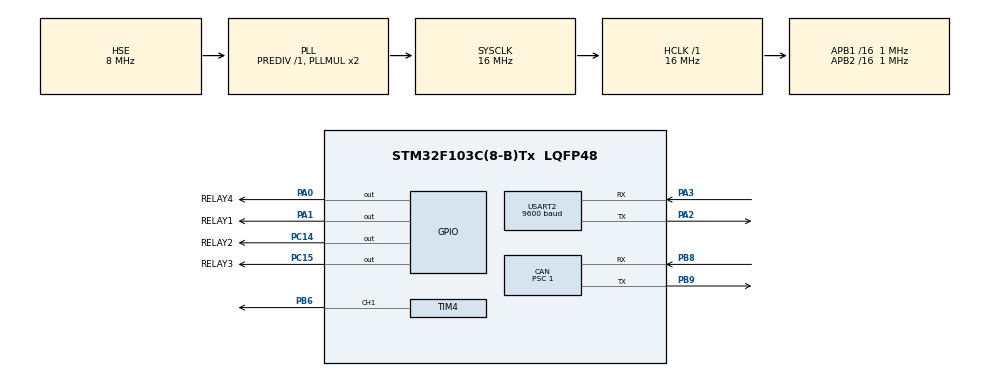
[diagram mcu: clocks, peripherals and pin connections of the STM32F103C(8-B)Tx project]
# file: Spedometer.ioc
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CAN.BS1=CAN_BS1_2TQ
CAN.CalculateBaudRate=250000
CAN.CalculateTimeBit=4000
CAN.CalculateTimeQuantum=1000.0
CAN.Prescaler=1
Mcu.Family=STM32F1
Mcu.Name=STM32F103C(8-B)Tx
Mcu.Package=LQFP48
NVIC.CAN1_RX1_IRQn=true\:0\:0\:false\:false\:true\:true\:true\:true
NVIC.PriorityGroup=NVIC_PRIORITYGROUP_4
PA0-WKUP.GPIO_Label=RELAY4
PA0-WKUP.Signal=GPIO_Output
PA1.GPIO_Label=RELAY1
PA1.Signal=GPIO_Output
PA13.Mode=Serial_Wire
PA13.Signal=SYS_JTMS-SWDIO
PA14.Mode=Serial_Wire
PA14.Signal=SYS_JTCK-SWCLK
PA2.Mode=Asynchronous
PA2.Signal=USART2_TX
PA3.Mode=Asynchronous
PA3.Signal=USART2_RX
PB6.Signal=S_TIM4_CH1
PB8.Mode=CAN_Activate
PB8.Signal=CAN_RX
PB9.Mode=CAN_Activate
PB9.Signal=CAN_TX
PC14-OSC32_IN.GPIO_Label=RELAY2
PC14-OSC32_IN.Signal=GPIO_Output
PC15-OSC32_OUT.GPIO_Label=RELAY3
PC15-OSC32_OUT.Signal=GPIO_Output
PD0-OSC_IN.Mode=HSE-External-Oscillator
PD0-OSC_IN.Signal=RCC_OSC_IN
PD1-OSC_OUT.Mode=HSE-External-Oscillator
PD1-OSC_OUT.Signal=RCC_OSC_OUT
ProjectManager.HeapSize=0x200
ProjectManager.StackSize=0x400
ProjectManager.TargetToolchain=STM32CubeIDE
RCC.AHBFreq_Value=16000000
RCC.APB1CLKDivider=RCC_HCLK_DIV16
RCC.APB1Freq_Value=1000000
RCC.APB1TimFreq_Value=2000000
RCC.APB2CLKDivider=RCC_HCLK_DIV16
RCC.APB2Freq_Value=1000000
RCC.APB2TimFreq_Value=2000000
RCC.HCLKFreq_Value=16000000
RCC.PLLSourceVirtual=RCC_PLLSOURCE_HSE
RCC.SYSCLKFreq_VALUE=16000000
RCC.SYSCLKSource=RCC_SYSCLKSOURCE_PLLCLK
RCC.USBFreq_Value=16000000
SH.S_TIM4_CH1.0=TIM4_CH1,PWM Generation1 CH1
TIM4.Channel-PWM\ Generation1\ CH1=TIM_CHANNEL_1
TIM4.Period=65535-1
TIM4.Prescaler=10-1
USART2.BaudRate=9600
USART2.VirtualMode=VM_ASYNC
VP_TIM4_VS_ClockSourceINT.Mode=Internal
board=custom

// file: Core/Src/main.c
/* USER CODE BEGIN Header */
/**
  ******************************************************************************
  * @file           : main.c
  * @brief          : Main program body
  ******************************************************************************
  * @attention
  *
  * Copyright (c) 2022 STMicroelectronics.
  * All rights reserved.
  *
  * This software is licensed under terms that can be found in the LICENSE file
  * in the root directory of this software component.
  * If no LICENSE file comes with this software, it is provided AS-IS.
  *
  ******************************************************************************
  */
/* USER CODE END Header */
#include "main.h"

/* USER CODE BEGIN Includes */
#include "uartRingBuffer.h"
#include "NMEA.h"
#include "math.h"
#include "stdio.h"
#include "stdlib.h"
#include "string.h"
/* USER CODE END Includes */

CAN_HandleTypeDef hcan;

TIM_HandleTypeDef htim4;

UART_HandleTypeDef huart2;

void SystemClock_Config(void);
static void MX_GPIO_Init(void);
static void MX_TIM4_Init(void);
static void MX_USART2_UART_Init(void);
static void MX_CAN_Init(void);

/* USER CODE BEGIN 0 */
CAN_TxHeaderTypeDef TxHeader;
CAN_RxHeaderTypeDef RxHeader;

uint8_t TxData[8];
uint8_t RxData[8];

uint32_t TxMailbox;

int datacheck = 0;

char data[255] = {'\0'};
int soc=0,voltage=0,soh=0,current=0,temperature=0;

uint8_t Cmd_End[3] = {0xff,0xff,0xff};
uint8_t value=0;
uint16_t i;
float speed = 60, kmhtofreq, freqtoarr;

/*	CAN Receive Handler	*/
void HAL_CAN_RxFifo1MsgPendingCallback(CAN_HandleTypeDef *hcan)
{
	HAL_CAN_GetRxMessage(hcan, CAN_RX_FIFO1, &RxHeader, RxData);
		datacheck = 1;
		if((RxHeader.ExtId & 0xFFFF0000) == 0x10260000){
			datacheck = 2;
			if((RxHeader.ExtId & 0x000000FF) == 0x00){
				soc=RxData[1];
				soh=RxData[2];
				temperature= RxData[3];
				voltage=RxData[4];
				current=RxData[5];
				datacheck = 3;
			}
		}
}
/* USER CODE END 0 */

int main(void)
{

  /* MCU Configuration--------------------------------------------------------*/

  /* Reset of all peripherals, Initializes the Flash interface and the Systick. */
  HAL_Init();

  /* Configure the system clock */
  SystemClock_Config();

  /* Initialize all configured peripherals */
  MX_GPIO_Init();
  MX_TIM4_Init();
  MX_USART2_UART_Init();
  MX_CAN_Init();
  /* USER CODE BEGIN 2 */
  HAL_TIM_Base_Start(&htim4);
  HAL_TIM_PWM_Start(&htim4, TIM_CHANNEL_1);
  HAL_CAN_Start(&hcan);

  // Activate CAN notification
  HAL_CAN_ActivateNotification(&hcan, CAN_IT_RX_FIFO1_MSG_PENDING);

  TxHeader.DLC = 2;  // data length
  TxHeader.IDE = CAN_ID_EXT;
  TxHeader.RTR = CAN_RTR_DATA;
  TxHeader.ExtId = 0x13;  // ID

  TxData[0] = 200;  // ms delay
  TxData[1] = 20;  // loop rep
  /* USER CODE END 2 */

  /* Infinite loop */
  while (1)
  {

    /* USER CODE BEGIN 3 */

	  /*	SPEED TO FREQUENCY CONVERSION	*/
	  // y = 7.4785x - 35.058
	  kmhtofreq = 7.4785*(speed) - 35.058;
	  // max 160kmh = 1200Hz = ARR 166
	  // min 2kmh = 10Hz = ARR 20000
      // (APB1/(TIM4PCS*kmhtofreq))
	  freqtoarr = (2000000/(10*kmhtofreq));
	  TIM4->ARR = (int)freqtoarr;
	  // CCR always 1/2 ARR
	  TIM4->CCR1 = (int)(freqtoarr/2);
	  if(TIM1->CNT > TIM1->ARR){
		  // limit CNT if exceeds ARR
		  TIM4->CNT = TIM4->ARR;
	  }

	  /*	CAN DATA CHECKING	*/
	  if (datacheck){
		  for (int i=0; i<RxData[1]; i++){
			  // blink led
			  HAL_GPIO_TogglePin(GPIOC, GPIO_PIN_13);
			  HAL_Delay(RxData[0]);
		  }
		  datacheck = 0;
	  }

	  /*	FUEL RESISTIVE SWITCH	*/
	  if(soc>=80){
		  // full
		  HAL_GPIO_WritePin(RELAY1_GPIO_Port, RELAY1_Pin, 0);
		  HAL_GPIO_WritePin(RELAY2_GPIO_Port, RELAY2_Pin, 0);
		  HAL_GPIO_WritePin(RELAY3_GPIO_Port, RELAY3_Pin, 0);
		  HAL_GPIO_WritePin(RELAY4_GPIO_Port, RELAY4_Pin, 0);
	  }
	  else if(soc>=60 && soc<80){
		  // 4/5
		  HAL_GPIO_WritePin(RELAY1_GPIO_Port, RELAY1_Pin, 1);
		  HAL_GPIO_WritePin(RELAY2_GPIO_Port, RELAY2_Pin, 0);
		  HAL_GPIO_WritePin(RELAY3_GPIO_Port, RELAY3_Pin, 0);
		  HAL_GPIO_WritePin(RELAY4_GPIO_Port, RELAY4_Pin, 0);
	  }
	  else if(soc>=40 && soc<60){
		  // 3/5
		  HAL_GPIO_WritePin(RELAY1_GPIO_Port, RELAY1_Pin, 1);
		  HAL_GPIO_WritePin(RELAY2_GPIO_Port, RELAY2_Pin, 1);
		  HAL_GPIO_WritePin(RELAY3_GPIO_Port, RELAY3_Pin, 0);
		  HAL_GPIO_WritePin(RELAY4_GPIO_Port, RELAY4_Pin, 0);
	  }
	  else if(soc>=20 && soc<40){
		  // 2/5
		  HAL_GPIO_WritePin(RELAY1_GPIO_Port, RELAY1_Pin, 1);
		  HAL_GPIO_WritePin(RELAY2_GPIO_Port, RELAY2_Pin, 1);
		  HAL_GPIO_WritePin(RELAY3_GPIO_Port, RELAY3_Pin, 1);
		  HAL_GPIO_WritePin(RELAY4_GPIO_Port, RELAY4_Pin, 0);
	  }
	  else if(soc<20){
		  // 1/5
		  HAL_GPIO_WritePin(RELAY1_GPIO_Port, RELAY1_Pin, 1);
		  HAL_GPIO_WritePin(RELAY2_GPIO_Port, RELAY2_Pin, 1);
		  HAL_GPIO_WritePin(RELAY3_GPIO_Port, RELAY3_Pin, 1);
		  HAL_GPIO_WritePin(RELAY4_GPIO_Port, RELAY4_Pin, 1);
	  }
  }
  /* USER CODE END 3 */
}

void SystemClock_Config(void)
{
  RCC_OscInitTypeDef RCC_OscInitStruct = {0};
  RCC_ClkInitTypeDef RCC_ClkInitStruct = {0};

  /** Initializes the RCC Oscillators according to the specified parameters
  * in the RCC_OscInitTypeDef structure.
  */
  RCC_OscInitStruct.OscillatorType = RCC_OSCILLATORTYPE_HSE;
  RCC_OscInitStruct.HSEState = RCC_HSE_ON;
  RCC_OscInitStruct.HSEPredivValue = RCC_HSE_PREDIV_DIV1;
  RCC_OscInitStruct.HSIState = RCC_HSI_ON;
  RCC_OscInitStruct.PLL.PLLState = RCC_PLL_ON;
  RCC_OscInitStruct.PLL.PLLSource = RCC_PLLSOURCE_HSE;
  RCC_OscInitStruct.PLL.PLLMUL = RCC_PLL_MUL2;
  if (HAL_RCC_OscConfig(&RCC_OscInitStruct) != HAL_OK)
  {
    Error_Handler();
  }

  /** Initializes the CPU, AHB and APB buses clocks
  */
  RCC_ClkInitStruct.ClockType = RCC_CLOCKTYPE_HCLK|RCC_CLOCKTYPE_SYSCLK
                              |RCC_CLOCKTYPE_PCLK1|RCC_CLOCKTYPE_PCLK2;
  RCC_ClkInitStruct.SYSCLKSource = RCC_SYSCLKSOURCE_PLLCLK;
  RCC_ClkInitStruct.AHBCLKDivider = RCC_SYSCLK_DIV1;
  RCC_ClkInitStruct.APB1CLKDivider = RCC_HCLK_DIV16;
  RCC_ClkInitStruct.APB2CLKDivider = RCC_HCLK_DIV16;

  if (HAL_RCC_ClockConfig(&RCC_ClkInitStruct, FLASH_LATENCY_0) != HAL_OK)
  {
    Error_Handler();
  }
}

static void MX_CAN_Init(void)
{

  hcan.Instance = CAN1;
  hcan.Init.Prescaler = 1;
  hcan.Init.Mode = CAN_MODE_NORMAL;
  hcan.Init.SyncJumpWidth = CAN_SJW_1TQ;
  hcan.Init.TimeSeg1 = CAN_BS1_2TQ;
  hcan.Init.TimeSeg2 = CAN_BS2_1TQ;
  hcan.Init.TimeTriggeredMode = DISABLE;
  hcan.Init.AutoBusOff = DISABLE;
  hcan.Init.AutoWakeUp = DISABLE;
  hcan.Init.AutoRetransmission = DISABLE;
  hcan.Init.ReceiveFifoLocked = DISABLE;
  hcan.Init.TransmitFifoPriority = DISABLE;
  if (HAL_CAN_Init(&hcan) != HAL_OK)
  {
    Error_Handler();
  }
  /* USER CODE BEGIN CAN_Init 2 */
	CAN_FilterTypeDef canfilterconfig;

	canfilterconfig.FilterActivation = CAN_FILTER_ENABLE;
	canfilterconfig.FilterBank = 10;  // which filter bank to use from the assigned ones
	canfilterconfig.FilterFIFOAssignment = CAN_FILTER_FIFO1;
	canfilterconfig.FilterIdHigh = 0x00<<5;
	canfilterconfig.FilterIdLow = 0;
	canfilterconfig.FilterMaskIdHigh = 0x00<<5;
	canfilterconfig.FilterMaskIdLow = 0;
	canfilterconfig.FilterMode = CAN_FILTERMODE_IDMASK;
	canfilterconfig.FilterScale = CAN_FILTERSCALE_32BIT;
	canfilterconfig.SlaveStartFilterBank = 0;  // doesn't matter in single can controllers

	HAL_CAN_ConfigFilter(&hcan, &canfilterconfig);
  /* USER CODE END CAN_Init 2 */

}

static void MX_TIM4_Init(void)
{

  TIM_ClockConfigTypeDef sClockSourceConfig = {0};
  TIM_MasterConfigTypeDef sMasterConfig = {0};
  TIM_OC_InitTypeDef sConfigOC = {0};

  htim4.Instance = TIM4;
  htim4.Init.Prescaler = 10-1;
  htim4.Init.CounterMode = TIM_COUNTERMODE_UP;
  htim4.Init.Period = 65535-1;
  htim4.Init.ClockDivision = TIM_CLOCKDIVISION_DIV1;
  htim4.Init.AutoReloadPreload = TIM_AUTORELOAD_PRELOAD_DISABLE;
  if (HAL_TIM_Base_Init(&htim4) != HAL_OK)
  {
    Error_Handler();
  }
  sClockSourceConfig.ClockSource = TIM_CLOCKSOURCE_INTERNAL;
  if (HAL_TIM_ConfigClockSource(&htim4, &sClockSourceConfig) != HAL_OK)
  {
    Error_Handler();
  }
  if (HAL_TIM_PWM_Init(&htim4) != HAL_OK)
  {
    Error_Handler();
  }
  sMasterConfig.MasterOutputTrigger = TIM_TRGO_RESET;
  sMasterConfig.MasterSlaveMode = TIM_MASTERSLAVEMODE_DISABLE;
  if (HAL_TIMEx_MasterConfigSynchronization(&htim4, &sMasterConfig) != HAL_OK)
  {
    Error_Handler();
  }
  sConfigOC.OCMode = TIM_OCMODE_PWM1;
  sConfigOC.Pulse = 0;
  sConfigOC.OCPolarity = TIM_OCPOLARITY_HIGH;
  sConfigOC.OCFastMode = TIM_OCFAST_DISABLE;
  if (HAL_TIM_PWM_ConfigChannel(&htim4, &sConfigOC, TIM_CHANNEL_1) != HAL_OK)
  {
    Error_Handler();
  }
  HAL_TIM_MspPostInit(&htim4);

}

static void MX_USART2_UART_Init(void)
{

  huart2.Instance = USART2;
  huart2.Init.BaudRate = 9600;
  huart2.Init.WordLength = UART_WORDLENGTH_8B;
  huart2.Init.StopBits = UART_STOPBITS_1;
  huart2.Init.Parity = UART_PARITY_NONE;
  huart2.Init.Mode = UART_MODE_TX_RX;
  huart2.Init.HwFlowCtl = UART_HWCONTROL_NONE;
  huart2.Init.OverSampling = UART_OVERSAMPLING_16;
  if (HAL_UART_Init(&huart2) != HAL_OK)
  {
    Error_Handler();
  }

}

static void MX_GPIO_Init(void)
{
  GPIO_InitTypeDef GPIO_InitStruct = {0};

  /* GPIO Ports Clock Enable */
  __HAL_RCC_GPIOC_CLK_ENABLE();
  __HAL_RCC_GPIOD_CLK_ENABLE();
  __HAL_RCC_GPIOA_CLK_ENABLE();
  __HAL_RCC_GPIOB_CLK_ENABLE();

  /*Configure GPIO pin Output Level */
  HAL_GPIO_WritePin(GPIOC, RELAY2_Pin|RELAY3_Pin, GPIO_PIN_RESET);

  /*Configure GPIO pin Output Level */
  HAL_GPIO_WritePin(GPIOA, RELAY4_Pin|RELAY1_Pin, GPIO_PIN_RESET);

  /*Configure GPIO pins : RELAY2_Pin RELAY3_Pin */
  GPIO_InitStruct.Pin = RELAY2_Pin|RELAY3_Pin;
  GPIO_InitStruct.Mode = GPIO_MODE_OUTPUT_PP;
  GPIO_InitStruct.Pull = GPIO_NOPULL;
  GPIO_InitStruct.Speed = GPIO_SPEED_FREQ_LOW;
  HAL_GPIO_Init(GPIOC, &GPIO_InitStruct);

  /*Configure GPIO pins : RELAY4_Pin RELAY1_Pin */
  GPIO_InitStruct.Pin = RELAY4_Pin|RELAY1_Pin;
  GPIO_InitStruct.Mode = GPIO_MODE_OUTPUT_PP;
  GPIO_InitStruct.Pull = GPIO_NOPULL;
  GPIO_InitStruct.Speed = GPIO_SPEED_FREQ_LOW;
  HAL_GPIO_Init(GPIOA, &GPIO_InitStruct);

}

void Error_Handler(void)
{
  __disable_irq();
  while (1)
  {
  }
}
